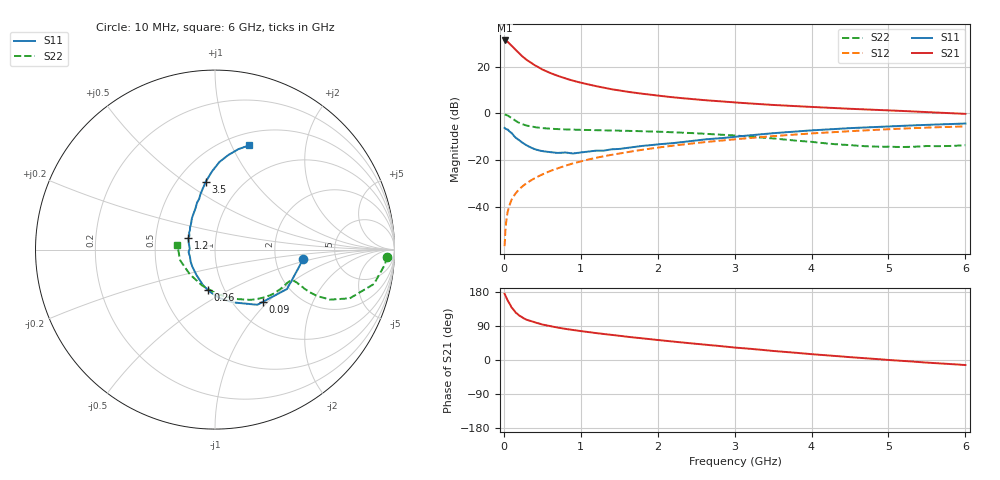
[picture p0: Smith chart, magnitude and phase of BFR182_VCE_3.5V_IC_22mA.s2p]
! Infineon Technologies  Discrete & RF Semiconductors
! BFR182
! VCE =  3.5 V,  IC =  22 mA
! Common Emitter S-Parameters:  Nov 2015
# GHz  S  MA  R  50
!  f  S11  S21  S12  S22
! GHz  MAG  ANG  MAG  ANG  MAG  ANG  MAG  ANG
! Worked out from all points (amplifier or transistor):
!   210 points, 10 MHz to 6 GHz, reference 50 ohm
!   highest |S21| = 31.1 dB at 10 MHz (marker M1)
!   |S21| within 3 dB of that: start of sweep to 123.7 MHz
!   unconditionally stable (mu >= 1): 502.3 MHz to 2.47 GHz
!   at 185 MHz: K = 0.72, MSG = 29.4 dB, |S12| = -32.8 dB
!   at 1.52 GHz: K = 1.05, MAG = 12.0 dB, |S12| = -16.9 dB
!   at 6 GHz: K = 0.90, MSG = 2.7 dB, |S12| = -5.5 dB
!   S11 on the Smith chart (normalised r, x): 10 MHz: 2.89, -0.39; 90 MHz: 1.37, -0.94; 260 MHz: 0.84, -0.40; 1.2 GHz: 0.74, +0.10; 3.5 GHz: 0.68, +0.60; 6 GHz: 0.63, +1.17
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0.01  0.4932 -6.0  35.87 174.8  0.0015 89.2  0.9594 -2.3
0.02  0.4783 -11.6  35.41 170.0  0.0032 84.4  0.9496 -5.1
0.05  0.4574 -28.7  33.47 156.7  0.0081 81.1  0.9061 -12.2
0.09  0.3954 -47.1  28.83 143.0  0.0133 76.1  0.8186 -18.2
0.1  0.3875 -52.5  27.98 138.9  0.0146 75.4  0.7983 -19.9
0.15  0.3102 -71.4  22.88 125.7  0.0196 71.3  0.6994 -23.5
0.2  0.2699 -85.1  18.94 117.3  0.0244 72.5  0.6311 -24.4
0.26  0.2286 -100.1  15.47 109.9  0.0297 71.8  0.5775 -24.2
0.3  0.2083 -109.0  13.71 105.9  0.0332 72.8  0.5516 -23.8
0.4  0.1747 -126.4  10.68 99.3  0.0418 73.3  0.5123 -22.6
0.5  0.1585 -142.4  8.655 93.6  0.0504 74.3  0.489 -21.9
0.7  0.1449 -165.2  6.331 85.5  0.068 74.4  0.4649 -21.8
0.8  0.148 -174.4  5.565 82.0  0.0773 73.5  0.4586 -22.0
1.02  0.1496 167.4  4.447 75.8  0.0971 73.0  0.448 -23.6
1.2  0.162 156.1  3.82 70.9  0.1138 72.0  0.4413 -25.3
1.6  0.1851 138.8  2.914 61.4  0.1508 68.7  0.4279 -30.2
2.02  0.2216 124.8  2.381 52.4  0.1896 65.1  0.4096 -36.5
3.1  0.3313 103.1  1.677 31.3  0.2916 54.0  0.3304 -57.6
3.5  0.3808 97.9  1.521 23.9  0.3302 49.7  0.295 -68.6
4.1  0.4469 91.0  1.354 13.9  0.3852 42.4  0.2391 -90.7
5.1  0.5401 80.9  1.15 -1.2  0.4714 29.8  0.1943 -141.0
6  0.6116 71.8  0.983 -13.3  0.5315 17.4  0.2117 172.7
